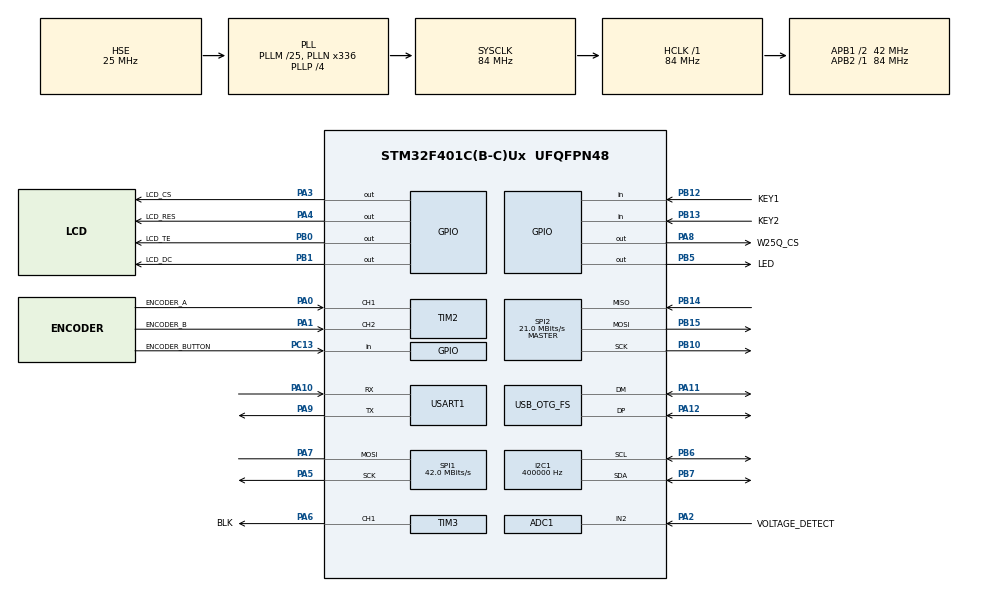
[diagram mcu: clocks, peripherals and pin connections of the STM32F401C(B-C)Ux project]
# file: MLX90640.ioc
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ADC1.Channel-0\#ChannelRegularConversion=ADC_CHANNEL_2
ADC1.ContinuousConvMode=ENABLE
ADC1.DMAContinuousRequests=ENABLE
ADC1.NbrOfConversionFlag=1
ADC1.Rank-0\#ChannelRegularConversion=1
ADC1.SamplingTime-0\#ChannelRegularConversion=ADC_SAMPLETIME_144CYCLES
ADC1.ScanConvMode=ENABLE
ADC1.master=1
Dma.ADC1.0.Direction=DMA_PERIPH_TO_MEMORY
Dma.ADC1.0.FIFOMode=DMA_FIFOMODE_DISABLE
Dma.ADC1.0.Instance=DMA2_Stream0
Dma.ADC1.0.MemDataAlignment=DMA_MDATAALIGN_HALFWORD
Dma.ADC1.0.MemInc=DMA_MINC_ENABLE
Dma.ADC1.0.Mode=DMA_CIRCULAR
Dma.ADC1.0.PeriphDataAlignment=DMA_PDATAALIGN_HALFWORD
Dma.ADC1.0.PeriphInc=DMA_PINC_DISABLE
Dma.ADC1.0.Priority=DMA_PRIORITY_LOW
Dma.Request0=ADC1
FATFS._CODE_PAGE=936
I2C1.ClockSpeed=400000
I2C1.I2C_Mode=I2C_Fast
Mcu.Family=STM32F4
Mcu.Name=STM32F401C(B-C)Ux
Mcu.Package=UFQFPN48
NVIC.DMA2_Stream0_IRQn=true\:0\:0\:false\:false\:true\:false\:true
NVIC.OTG_FS_IRQn=true\:0\:0\:false\:false\:true\:false\:true
NVIC.PriorityGroup=NVIC_PRIORITYGROUP_4
NVIC.TIM4_IRQn=true\:0\:0\:false\:false\:true\:true\:true
PA0-WKUP.GPIO_Label=ENCODER_A
PA0-WKUP.Signal=S_TIM2_CH1_ETR
PA1.GPIO_Label=ENCODER_B
PA1.Signal=S_TIM2_CH2
PA10.Mode=Asynchronous
PA10.Signal=USART1_RX
PA11.Mode=Device_Only
PA11.Signal=USB_OTG_FS_DM
PA12.Mode=Device_Only
PA12.Signal=USB_OTG_FS_DP
PA13.Mode=Serial_Wire
PA13.Signal=SYS_JTMS-SWDIO
PA14.Mode=Serial_Wire
PA14.Signal=SYS_JTCK-SWCLK
PA2.GPIO_Label=VOLTAGE_DETECT
PA2.Signal=ADCx_IN2
PA3.GPIO_Label=LCD_CS
PA3.Signal=GPIO_Output
PA4.GPIO_Label=LCD_RES
PA4.Signal=GPIO_Output
PA5.Mode=Simplex_Bidirectional_Master
PA5.Signal=SPI1_SCK
PA6.GPIO_Label=BLK
PA6.Signal=S_TIM3_CH1
PA7.Mode=Simplex_Bidirectional_Master
PA7.Signal=SPI1_MOSI
PA8.GPIO_Label=W25Q_CS
PA8.Signal=GPIO_Output
PA9.Mode=Asynchronous
PA9.Signal=USART1_TX
PB0.GPIO_Label=LCD_TE
PB0.Signal=GPIO_Output
PB1.GPIO_Label=LCD_DC
PB1.Signal=GPIO_Output
PB10.Mode=Full_Duplex_Master
PB10.Signal=SPI2_SCK
PB12.GPIO_Label=KEY1
PB12.GPIO_PuPd=GPIO_PULLUP
PB12.Signal=GPIO_Input
PB13.GPIO_Label=KEY2
PB13.GPIO_PuPd=GPIO_PULLUP
PB13.Signal=GPIO_Input
PB14.Mode=Full_Duplex_Master
PB14.Signal=SPI2_MISO
PB15.Mode=Full_Duplex_Master
PB15.Signal=SPI2_MOSI
PB5.GPIO_Label=LED
PB5.Signal=GPIO_Output
PB6.Mode=I2C
PB6.Signal=I2C1_SCL
PB7.Mode=I2C
PB7.Signal=I2C1_SDA
PC13-ANTI_TAMP.GPIO_Label=ENCODER_BUTTON
PC13-ANTI_TAMP.GPIO_PuPd=GPIO_PULLUP
PC13-ANTI_TAMP.Signal=GPIO_Input
PH0\ -\ OSC_IN.Mode=HSE-External-Oscillator
PH0\ -\ OSC_IN.Signal=RCC_OSC_IN
PH1\ -\ OSC_OUT.Mode=HSE-External-Oscillator
PH1\ -\ OSC_OUT.Signal=RCC_OSC_OUT
ProjectManager.HeapSize=0x200
ProjectManager.StackSize=0x1200
ProjectManager.TargetToolchain=STM32CubeIDE
RCC.48MHZClocksFreq_Value=48000000
RCC.AHBFreq_Value=84000000
RCC.APB1CLKDivider=RCC_HCLK_DIV2
RCC.APB1Freq_Value=42000000
RCC.APB1TimFreq_Value=84000000
RCC.APB2Freq_Value=84000000
RCC.APB2TimFreq_Value=84000000
RCC.CortexFreq_Value=84000000
RCC.HCLKFreq_Value=84000000
RCC.HSE_VALUE=25000000
RCC.HSI_VALUE=16000000
RCC.LSE_VALUE=32768
RCC.PLLM=25
RCC.PLLN=336
RCC.PLLP=RCC_PLLP_DIV4
RCC.PLLQ=7
RCC.SYSCLKFreq_VALUE=84000000
RCC.SYSCLKSource=RCC_SYSCLKSOURCE_PLLCLK
RCC.VCOOutputFreq_Value=336000000
SH.ADCx_IN2.0=ADC1_IN2,IN2
SH.S_TIM2_CH1_ETR.0=TIM2_CH1,Encoder_Interface
SH.S_TIM2_CH2.0=TIM2_CH2,Encoder_Interface
SH.S_TIM3_CH1.0=TIM3_CH1,PWM Generation1 CH1
SPI1.CLKPolarity=SPI_POLARITY_HIGH
SPI1.CalculateBaudRate=42.0 MBits/s
SPI1.Direction=SPI_DIRECTION_1LINE
SPI1.Mode=SPI_MODE_MASTER
SPI1.VirtualType=VM_MASTER
SPI2.CalculateBaudRate=21.0 MBits/s
SPI2.Direction=SPI_DIRECTION_2LINES
SPI2.Mode=SPI_MODE_MASTER
SPI2.VirtualType=VM_MASTER
TIM3.Channel-PWM\ Generation1\ CH1=TIM_CHANNEL_1
TIM3.Period=100
TIM3.Prescaler=84-1
TIM4.Period=10000-1
TIM4.Prescaler=84-1
USART1.VirtualMode=VM_ASYNC
USB_DEVICE.CLASS_NAME_FS=MSC
USB_DEVICE.VirtualMode=Msc
USB_DEVICE.VirtualModeFS=Msc_FS
USB_OTG_FS.VirtualMode=Device_Only
VP_FATFS_VS_Generic.Mode=User_defined
VP_TIM3_VS_ClockSourceINT.Mode=Internal
VP_TIM4_VS_ClockSourceINT.Mode=Internal
VP_USB_DEVICE_VS_USB_DEVICE_MSC_FS.Mode=MSC_FS
board=custom

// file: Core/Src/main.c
/* USER CODE BEGIN Header */
/**
  ******************************************************************************
  * @file           : main.c
  * @brief          : Main program body
  ******************************************************************************
  * @attention
  *
  * <h2><center>&copy; Copyright (c) 2021 STMicroelectronics.
  * All rights reserved.</center></h2>
  *
  * This software component is licensed by ST under BSD 3-Clause license,
  * the "License"; You may not use this file except in compliance with the
  * License. You may obtain a copy of the License at:
  *                        opensource.org/licenses/BSD-3-Clause
  *
  ******************************************************************************
  */
/* USER CODE END Header */
#include "main.h"
#include "adc.h"
#include "dma.h"
#include "fatfs.h"
#include "i2c.h"
#include "spi.h"
#include "tim.h"
#include "usart.h"
#include "usb_device.h"
#include "gpio.h"

/* USER CODE BEGIN Includes */
#include "mlx90640_user.h"
#include "user.h"
#include "bmp.h"
#include "st7789.h"
/* USER CODE END Includes */

void SystemClock_Config(void);
/* USER CODE BEGIN PFP */
paramsMLX90640 mlx90640;
static float mlx90640To[768];
BMP_8 bmp8[768];
float max_temp;
float min_temp;
float center_temp;
/* USER CODE END PFP */

/* USER CODE BEGIN 0 */
uint32_t voltage_adc[1];
float bat_voltage;
extern BMP_INFO bmpinfo;
void test();
ENCODER my_encoder;
uint8_t img_method_arr[4]={GCM_Pseudo2,GCM_Pseudo1,GCM_Metal2,GCM_Gray};
MENU my_menu={
        {"GCM_Pseudo2   ","GCM_Pseudo1   ","GCM_Metal2   ","GCM_Gray   "},
        0,
        {"Nearest  ","Bilinear  "},
        1,
        {"screenshot","saving    ","success   ","fail      "},
        0
};
uint8_t key1_press,key2_press,button_press;
//menu1 bin_size or resize
//menu2 color_method
//menu3 screenshot
uint8_t chose_menu_index=1;
/* USER CODE END 0 */

int main(void)
{

  /* MCU Configuration--------------------------------------------------------*/

  /* Reset of all peripherals, Initializes the Flash interface and the Systick. */
  HAL_Init();

  /* Configure the system clock */
  SystemClock_Config();

  /* Initialize all configured peripherals */
  MX_GPIO_Init();
  MX_DMA_Init();
  MX_I2C1_Init();
  MX_SPI1_Init();
  MX_SPI2_Init();
  MX_USART1_UART_Init();
  MX_ADC1_Init();
  MX_TIM2_Init();
  MX_TIM3_Init();
  MX_TIM4_Init();
  MX_FATFS_Init();
  MX_USB_DEVICE_Init();
  /* USER CODE BEGIN 2 */
    HAL_TIM_PWM_Start(&htim3,TIM_CHANNEL_1);
    ST7789_SetBackLight(0);
    bmp_header_init(&bmpinfo);
    HAL_TIM_Base_Start_IT(&htim4);
    HAL_TIM_Encoder_Start(&htim2,TIM_CHANNEL_ALL);
    HAL_ADC_Start_DMA(&hadc1,voltage_adc,1);
    ST7789_Init();
    mlx90640_init(FPS8HZ,&mlx90640);
    HAL_Delay(500);
    mlx90640_get_temp_mat(&mlx90640,mlx90640To);
    ST7789_SetBackLight(100);
    draw_spectrum(img_method_arr[my_menu.chose_color_method_index]);
    //test();
  /* USER CODE END 2 */

  /* Infinite loop */
  while (1)
  {

    /* USER CODE BEGIN 3 */
      UART_printf(&huart1,"%d,%d,%d\n",chose_menu_index,key1_press,key2_press);
    if(key1_press==1)
        chose_menu_index--;
    if(key2_press)
        chose_menu_index++;
    if(chose_menu_index<1)
        chose_menu_index=3;
    if(chose_menu_index>3)
        chose_menu_index=1;
      mlx90640_get_temp_mat(&mlx90640,mlx90640To);
      while(temp_to_bmp8(bmp8,mlx90640To,768,&max_temp,&min_temp,1))
      {//温度异常重新获取
          mlx90640_get_temp_mat(&mlx90640,mlx90640To);
      }
      center_temp=mlx90640To[768/2];
      if(button_press)
          my_menu.screenshot_index=1;
      ST7789_WriteString(0,0,my_menu.voltage_info,Font_7x10,WHITE,BLACK);
      switch (chose_menu_index) {
          case 1:
              ST7789_WriteString(55,0,my_menu.resize_or_binsize[my_menu.resize_or_binsize_index],Font_7x10,RED,BLACK);
              ST7789_WriteString(135,0,my_menu.color_method[my_menu.chose_color_method_index],Font_7x10,WHITE,BLACK);
              ST7789_WriteString(230,0,my_menu.screenshot[my_menu.screenshot_index],Font_7x10,WHITE,BLACK);
              break;
          case 2:
              ST7789_WriteString(55,0,my_menu.resize_or_binsize[my_menu.resize_or_binsize_index],Font_7x10,WHITE,BLACK);
              ST7789_WriteString(135,0,my_menu.color_method[my_menu.chose_color_method_index],Font_7x10,RED,BLACK);
              ST7789_WriteString(230,0,my_menu.screenshot[my_menu.screenshot_index],Font_7x10,WHITE,BLACK);
              draw_spectrum(img_method_arr[my_menu.chose_color_method_index]);
              break;
          case 3:
              ST7789_WriteString(55,0,my_menu.resize_or_binsize[my_menu.resize_or_binsize_index],Font_7x10,WHITE,BLACK);
              ST7789_WriteString(135,0,my_menu.color_method[my_menu.chose_color_method_index],Font_7x10,WHITE,BLACK);
              ST7789_WriteString(230,0,my_menu.screenshot[my_menu.screenshot_index],Font_7x10,RED,BLACK);
              break;
      }
      ST7789_WriteString(0,229,my_menu.min_temp_info,Font_7x10,BLUE,BLACK);
      ST7789_WriteString(110,229,my_menu.center_temp_info,Font_7x10,YELLOW,BLACK);
      ST7789_WriteString(230,229,my_menu.max_temp_info,Font_7x10,RED,BLACK);

      if(!my_menu.resize_or_binsize_index)
      {
          Resize_draw(bmp8,img_method_arr[my_menu.chose_color_method_index]);
      }
      else
      {
          if(button_press)
          {
              if(Besize_draw(bmp8,img_method_arr[my_menu.chose_color_method_index],savefile))
                  my_menu.screenshot_index=3;
              else
                  my_menu.screenshot_index=2;
          }
          else
              Besize_draw(bmp8,img_method_arr[my_menu.chose_color_method_index],notsavefile);
      }
      HAL_GPIO_TogglePin(GPIOB,GPIO_PIN_5);
     // UART_printf(&huart1,"%d,%d,%d\n",chose_menu_index,key1_press,key2_press);

  }
  /* USER CODE END 3 */
}

void SystemClock_Config(void)
{
  RCC_OscInitTypeDef RCC_OscInitStruct = {0};
  RCC_ClkInitTypeDef RCC_ClkInitStruct = {0};

  /** Configure the main internal regulator output voltage
  */
  __HAL_RCC_PWR_CLK_ENABLE();
  __HAL_PWR_VOLTAGESCALING_CONFIG(PWR_REGULATOR_VOLTAGE_SCALE2);
  /** Initializes the RCC Oscillators according to the specified parameters
  * in the RCC_OscInitTypeDef structure.
  */
  RCC_OscInitStruct.OscillatorType = RCC_OSCILLATORTYPE_HSE;
  RCC_OscInitStruct.HSEState = RCC_HSE_ON;
  RCC_OscInitStruct.PLL.PLLState = RCC_PLL_ON;
  RCC_OscInitStruct.PLL.PLLSource = RCC_PLLSOURCE_HSE;
  RCC_OscInitStruct.PLL.PLLM = 25;
  RCC_OscInitStruct.PLL.PLLN = 336;
  RCC_OscInitStruct.PLL.PLLP = RCC_PLLP_DIV4;
  RCC_OscInitStruct.PLL.PLLQ = 7;
  if (HAL_RCC_OscConfig(&RCC_OscInitStruct) != HAL_OK)
  {
    Error_Handler();
  }
  /** Initializes the CPU, AHB and APB buses clocks
  */
  RCC_ClkInitStruct.ClockType = RCC_CLOCKTYPE_HCLK|RCC_CLOCKTYPE_SYSCLK
                              |RCC_CLOCKTYPE_PCLK1|RCC_CLOCKTYPE_PCLK2;
  RCC_ClkInitStruct.SYSCLKSource = RCC_SYSCLKSOURCE_PLLCLK;
  RCC_ClkInitStruct.AHBCLKDivider = RCC_SYSCLK_DIV1;
  RCC_ClkInitStruct.APB1CLKDivider = RCC_HCLK_DIV2;
  RCC_ClkInitStruct.APB2CLKDivider = RCC_HCLK_DIV1;

  if (HAL_RCC_ClockConfig(&RCC_ClkInitStruct, FLASH_LATENCY_2) != HAL_OK)
  {
    Error_Handler();
  }
}

/* USER CODE BEGIN 4 */
void HAL_TIM_PeriodElapsedCallback(TIM_HandleTypeDef *htim)
{
    if(htim->Instance==htim4.Instance)
    {
        my_encoder.cnt=TIM2->CNT;
        if(abs(my_encoder.cnt-my_encoder.last_cnt)>2)
        {
            my_encoder.direction=my_encoder.cnt-my_encoder.last_cnt>0?1:-1;
            my_encoder.last_cnt=my_encoder.cnt;
        }
        else
        {
            my_encoder.direction=0;
        }
        switch (chose_menu_index) {
            case 1:
                my_menu.resize_or_binsize_index+=my_encoder.direction;
                if(my_menu.resize_or_binsize_index>1)
                    my_menu.resize_or_binsize_index=0;
                if(my_menu.resize_or_binsize_index<0)
                    my_menu.resize_or_binsize_index=1;
                button_press=0;
                my_menu.screenshot_index=0;
                break;
            case 2:
                my_menu.chose_color_method_index+=my_encoder.direction;
                if(my_menu.chose_color_method_index>3)
                    my_menu.chose_color_method_index=0;
                if(my_menu.chose_color_method_index<0)
                    my_menu.chose_color_method_index=3;
                button_press=0;
                my_menu.screenshot_index=0;
                break;
            case 3:
                button_press= HAL_GPIO_ReadPin(GPIOC,GPIO_PIN_13)==0?1:0;
                break;
        }
        key1_press=HAL_GPIO_ReadPin(GPIOB,GPIO_PIN_12)==0?1:0;
        key2_press=HAL_GPIO_ReadPin(GPIOB,GPIO_PIN_13)==0?1:0;
        //UART_printf(&huart1,"a=%d,b=%d\n", HAL_GPIO_ReadPin(GPIOB,GPIO_PIN_12), HAL_GPIO_ReadPin(GPIOB,GPIO_PIN_13));
        bat_voltage=(float)voltage_adc[0]*3.3f/4096.0f/160.0f*630.0f;
        sprintf(my_menu.voltage_info,"%.2fv",bat_voltage);
        sprintf(my_menu.min_temp_info,"min=%.2f  ",min_temp);
        sprintf(my_menu.max_temp_info,"max=%.2f  ",max_temp);
        sprintf(my_menu.center_temp_info,"center=%.2f  ",center_temp);
    }
}

extern FATFS spi_fs;
extern FIL fil;
extern FRESULT retSD;
extern unsigned int count;
extern unsigned char work[4096];
unsigned char read_buf[50] = {0};
unsigned char write_buf[50] ="hello world\r\n";

//文件读写测试
void test()
{
    UART_printf(&huart1,"\r\n ****** FatFs Example ******\r\n\r\n");
/*##-1- Register the file system object to the FatFs module ##############*/
    retSD = f_mount(&spi_fs, "", 1);
    if(retSD != FR_OK)
    {
        if(retSD == FR_NO_FILESYSTEM)
        {
            UART_printf(&huart1,"F_mount no file system, start formatting spiflash\r\n");//f_mount 没有文件系统,开始格式化spi-flash
            retSD = f_mkfs("",FM_FAT32,0,work,sizeof(work));
            if(retSD != FR_OK)
            {
                UART_printf(&huart1,"F_mkfs formatting failed，err = %d\r\n",
                            retSD);//f_mkfs 格式化失败
                while(1);
            }
            else
            {
                UART_printf(&huart1,"Formatting successfully, start re-mountingthe spi-flash\r\n");//格式化成功，开始重新挂载spi-flash
                retSD = f_mount(&spi_fs, "", 1);
                if(retSD != FR_OK)
                {
                    UART_printf(&huart1,"An error occurred in f_mount,err =%d\r\n", retSD);//f_mount 发生错误
                }
                else UART_printf(&huart1,"spi-flash File system mountedsuccessfully\r\n");//spi-flash文件系统挂载成功
            }
        }
        else
        {
            UART_printf(&huart1,"Another error occurred with f_moun,err =%d\r\n", retSD);//f_mount 发生其他错误
            while(1);
        }
    }
    else UART_printf(&huart1,"spi-flash File system mountedsuccessfully\r\n");//spi-flash文件系统挂载成功
/*----------------------- 文件系统测试：写测试 -----------------------------*/
    UART_printf(&huart1,"\r\n****** File write tests are about to begin...******\r\n");//即将进行文件写入测试
    retSD = f_open(&fil, "test.bmp", FA_OPEN_ALWAYS | FA_WRITE);
    if(retSD == FR_OK)
    {
        UART_printf(&huart1,"Open/create xblnb.txt successfully, write data tofile.\r\n");//打开/创建xblnb.txt文件成功，向文件写入数据。

        f_write(&fil, (uint8_t*)&bmpinfo.bitmapfileheader.bfType, sizeof(bmpinfo.bitmapfileheader.bfType),&count);
        UART_printf(&huart1,"count=%d\n",count);
        f_write(&fil, (uint8_t*)&bmpinfo.bitmapfileheader.bfSize, sizeof(bmpinfo.bitmapfileheader.bfSize),&count);
        UART_printf(&huart1,"count=%d\n",count);
        f_write(&fil, (uint8_t*)&bmpinfo.bitmapfileheader.bfReserved1, sizeof(bmpinfo.bitmapfileheader.bfReserved1),&count);
        UART_printf(&huart1,"count=%d\n",count);
        f_write(&fil, (uint8_t*)&bmpinfo.bitmapfileheader.bfReserved2, sizeof(bmpinfo.bitmapfileheader.bfReserved2),&count);
        UART_printf(&huart1,"count=%d\n",count);
        f_write(&fil, (uint8_t*)&bmpinfo.bitmapfileheader.bfOffBits, sizeof(bmpinfo.bitmapfileheader.bfOffBits),&count);
        UART_printf(&huart1,"count=%d\n",count);
        f_write(&fil, (uint8_t*)&bmpinfo.bmpInfoheader, sizeof(bmpinfo.bmpInfoheader),&count);
        UART_printf(&huart1,"count=%d\n",count);
        f_write(&fil, (uint8_t*)&bmpinfo.RGB_MASK, sizeof(bmpinfo.RGB_MASK),&count);
//        UART_printf(&huart1,"count=%d\n",count);
        f_lseek(&fil,66);
        HAL_Delay(1000);
        for(int i=0;i<240;i++)
        {
            for(int j=0;j<320;j++)
            {
                uint16_t color=RED;
                retSD=f_write(&fil, (uint8_t*)&color, sizeof(color), &count);
                UART_printf(&huart1,"count=%d\n",count);
            }
        }

        if(retSD != FR_OK)
        {
            UART_printf(&huart1,"An error occurred in f_write,err = %d\r\n",
                        retSD);//f_write 发生错误
            UART_printf(&huart1,"close xblnb.txt\r\n");//关闭打开的xblnb.txt文件
            count = 0;
            f_close(&fil);
        }
        else
        {
            UART_printf(&huart1,"File written successfully, write bytedata:%d\n", count);//文件写入成功，写入字节数据：
            UART_printf(&huart1,"The data written to the file is:\r\n%s\r\n",write_buf);//向文件写入的数据为：
            UART_printf(&huart1,"close xblnb.txt\r\n");//关闭打开的xblnb.txt文件
            count = 0;
            f_close(&fil);
        }
    }
    else UART_printf(&huart1,"open/set up xblnb.txt failed,err = %d\r\n",
                     retSD);//打开/创建xblnb.txt文件失败

}
/* USER CODE END 4 */

void Error_Handler(void)
{
  __disable_irq();
  while (1)
  {
  }
}

/************************ (C) COPYRIGHT STMicroelectronics *****END OF FILE****/
